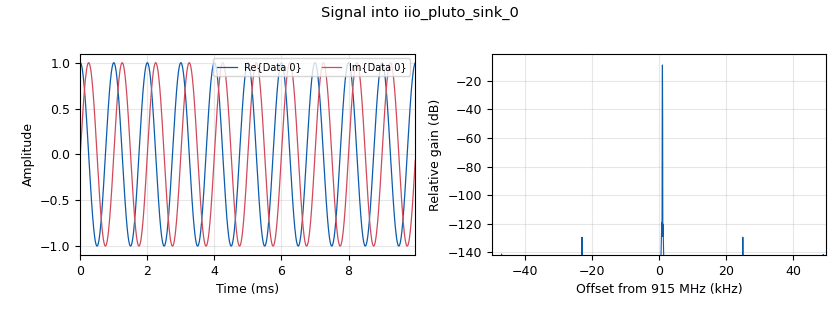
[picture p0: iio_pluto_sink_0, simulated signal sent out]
options:
  parameters:
    author: CSPL
    generate_options: qt_gui
    id: sinegen
    output_language: python
    title: SInewave_Generation
  states: {}

blocks:
- name: samp_rate
  id: variable
  parameters:
    value: '100000'
  states: {}
- name: analog_sig_source_x_0
  id: analog_sig_source_x
  parameters:
    amp: '1'
    freq: '1000'
    offset: '0'
    phase: '0'
    samp_rate: samp_rate
    type: complex
    waveform: analog.GR_COS_WAVE
  states: {}
- name: iio_pluto_sink_0
  id: iio_pluto_sink
  parameters:
    attenuation1: '10.0'
    bandwidth: '20000000'
    buffer_size: '32768'
    cyclic: 'False'
    filter_source: '''Auto'''
    frequency: '915000000'
    samplerate: samp_rate
    type: fc32
    uri: 192.168.2.1
  states: {}
- name: iio_pluto_source_0
  id: iio_pluto_source
  parameters:
    bandwidth: '20000000'
    bbdc: 'True'
    buffer_size: '32768'
    filter_source: '''Auto'''
    frequency: '915000000'
    gain1: '''slow_attack'''
    quadrature: 'True'
    rfdc: 'True'
    samplerate: samp_rate
    type: fc32
    uri: 192.168.2.1
  states: {}
- name: qtgui_freq_sink_x_0
  id: qtgui_freq_sink_x
  parameters:
    bw: samp_rate
    fc: '0'
    fftsize: '1024'
    type: complex
  states: {}
- name: qtgui_sink_x_0
  id: qtgui_sink_x
  parameters:
    bw: samp_rate
    fc: '0'
    fftsize: '1024'
    type: complex
  states: {}
- name: qtgui_time_sink_x_0
  id: qtgui_time_sink_x
  parameters:
    size: '1024'
    srate: samp_rate
    type: complex
  states: {}

connections:
- [analog_sig_source_x_0, '0', iio_pluto_sink_0, '0']
- [iio_pluto_source_0, '0', qtgui_freq_sink_x_0, '0']
- [iio_pluto_source_0, '0', qtgui_sink_x_0, '0']
- [iio_pluto_source_0, '0', qtgui_time_sink_x_0, '0']

metadata:
  file_format: 1
  grc_version: 3.10.7.0
